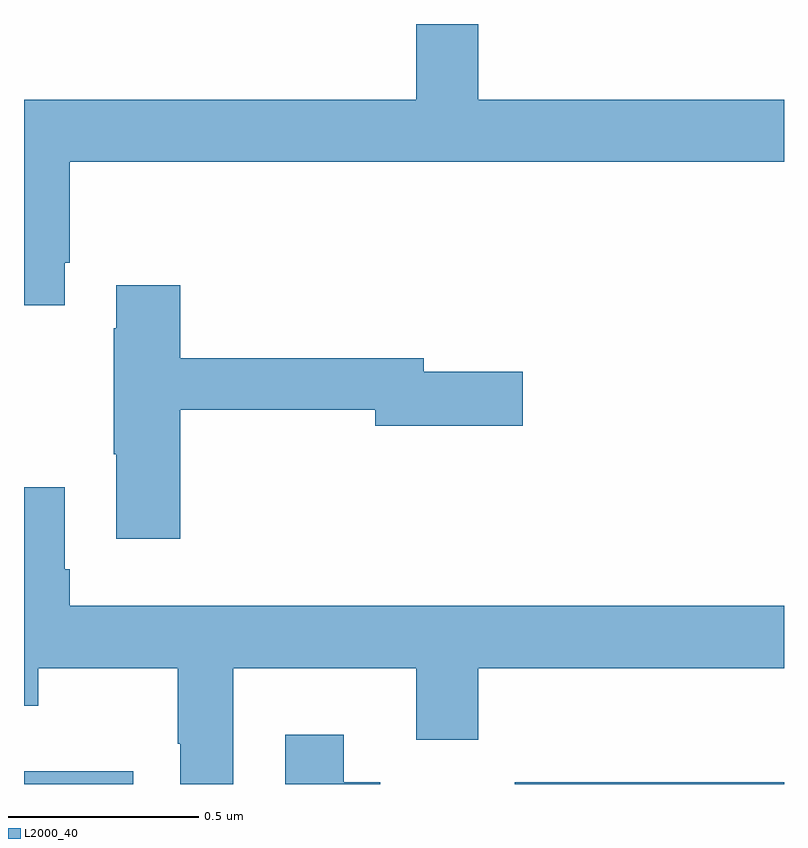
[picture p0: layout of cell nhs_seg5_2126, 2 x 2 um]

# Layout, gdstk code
import gdstk
lib = gdstk.Library(unit=1e-6, precision=1e-09)
def R(c, l, rs):  # rectangles x0, y0, x1, y1
    for r in rs: c.add(gdstk.rectangle(r[:2], r[2:], *l))
def P(c, l, *ps):  # polygons
    for p in ps: c.add(gdstk.Polygon(p, *l))
L2000_40 = (2000, 40)

nhs_seg5_2126 = lib.new_cell('nhs_seg5_2126')
R(nhs_seg5_2126, L2000_40, [(140,845.799,140.287,845.833), (141.292,845.799,142,845.803)])
P(nhs_seg5_2126, L2000_40, [(140.107,847.171),(140.12,847.171),(140.12,847.436),(142,847.436),(142,847.6),(141.196,847.6),(141.196,847.799),(141.032,847.799),(141.032,847.6),(140,847.6),(140,847.059),(140.107,847.059)],
  [(140.411,846.784),(140.924,846.784),(140.924,846.742),(141.313,846.742),(141.313,846.884),(141.052,846.884),(141.052,846.92),(140.411,846.92),(140.411,847.111),(140.243,847.111),(140.243,846.998),(140.236,846.998),(140.236,846.667),(140.243,846.667),(140.243,846.444),(140.411,846.444)],
  [(140.12,846.364),(140.107,846.364),(140.107,846.58),(140,846.58),(140,846.005),(140.037,846.005),(140.037,846.104),(140.404,846.104),(140.404,845.905),(140.411,845.905),(140.411,845.799),(140.551,845.799),(140.551,846.104),(141.032,846.104),(141.032,845.916),(141.196,845.916),(141.196,846.104),(142,846.104),(142,846.268),(140.12,846.268)],
  [(140.938,845.803),(140.842,845.803),(140.842,845.929),(140.687,845.929),(140.687,845.799),(140.938,845.799)])

lib.write_gds('nhs_seg5_2126.gds')
